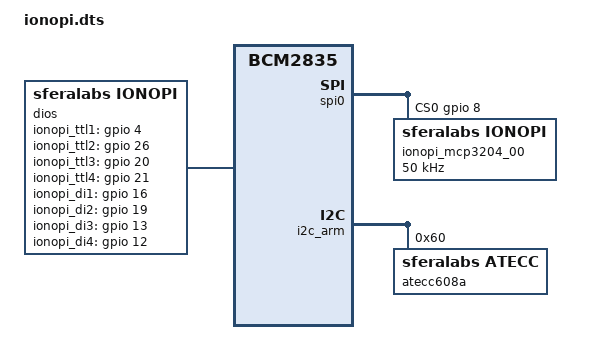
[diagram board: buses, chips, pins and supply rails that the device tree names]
/dts-v1/;
/plugin/;

/ {
compatible = "brcm,bcm2835";

	fragment@0 {
		target-path = "/";
		__overlay__ {
			dios: dios@0 {
				compatible = "sferalabs,ionopi";
				pinctrl-names = "default";
				pinctrl-0 = <&dios_pins>;
				status = "okay";
				
				ionopi_ttl1-gpios = <&gpio 4 0>;
				ionopi_ttl2-gpios = <&gpio 26 0>;
				ionopi_ttl3-gpios = <&gpio 20 0>;
				ionopi_ttl4-gpios = <&gpio 21 0>;
				ionopi_di1-gpios = <&gpio 16 0>;
				ionopi_di2-gpios = <&gpio 19 0>;
				ionopi_di3-gpios = <&gpio 13 0>;
				ionopi_di4-gpios = <&gpio 12 0>;
				ionopi_di5-gpios = <&gpio 6 0>;
				ionopi_di6-gpios = <&gpio 5 0>;
				ionopi_oc1-gpios = <&gpio 18 0>;
				ionopi_oc2-gpios = <&gpio 25 0>;
				ionopi_oc3-gpios = <&gpio 24 0>;
				ionopi_o1-gpios = <&gpio 17 0>;
				ionopi_o2-gpios = <&gpio 27 0>;
				ionopi_o3-gpios = <&gpio 22 0>;
				ionopi_o4-gpios = <&gpio 23 0>;
				ionopi_led-gpios = <&gpio 7 0>;
			};
		};
	};

	fragment@1 {
		target = <&gpio>;
		__overlay__ {
			dios_pins: dios_pins {
				brcm,pins = <16 19 13 12 6 5>;
				brcm,function = <0>; /* in */
				brcm,pull = <0>; /* no pull */
			};
		};
	};

	fragment@2 {
		target = <&spidev0>;
		__overlay__ {
			status = "disabled";
		};
	};

	fragment@3 {
		target = <&spidev1>;
		__overlay__ {
			status = "disabled";
		};
	};

	fragment@4 {
		target = <&spi0>;
		__overlay__ {
			#address-cells = <1>;
			#size-cells = <0>;
			cs-gpios = <&gpio 8 0>;
			num-chipselects = <1>;
			status = "okay";
			
			ionopi_mcp3204_00: mcp3204@0 {
				compatible = "sferalabs,ionopi";
				reg = <0>;
				spi-max-frequency = <50000>;
			};
		};
	};

	fragment@5 {
		target = <&i2c_arm>;
		__overlay__ {
			#address-cells = <1>;
			#size-cells = <0>;
			status = "okay";

			atecc608a: atecc608a@60 {
				compatible = "sferalabs,atecc";
				reg = <0x60>;
				status = "okay";
			};
		};
	};
};
